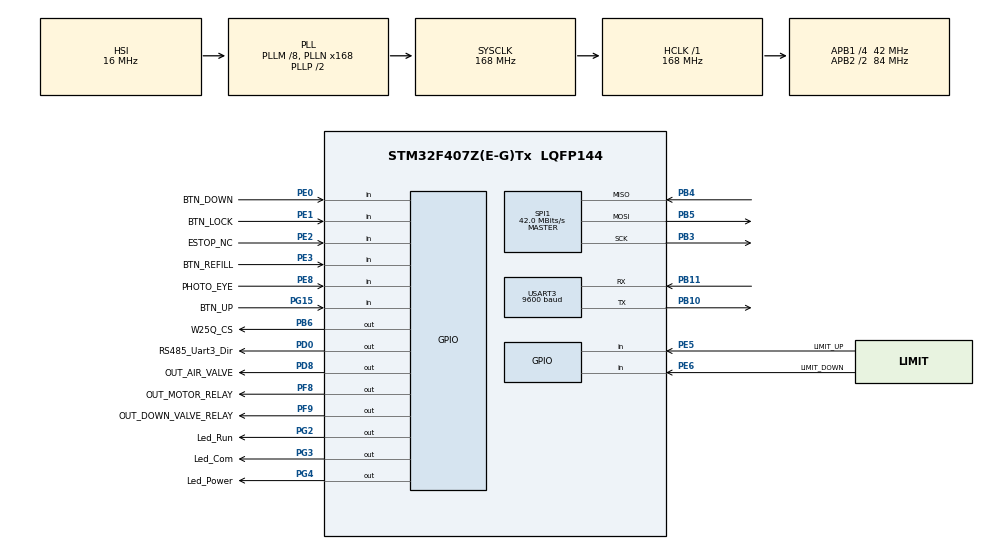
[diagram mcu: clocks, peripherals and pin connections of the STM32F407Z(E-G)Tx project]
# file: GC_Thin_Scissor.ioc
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Dma.Request0=USART3_TX
Dma.Request1=USART3_RX
Dma.USART3_RX.1.Direction=DMA_PERIPH_TO_MEMORY
Dma.USART3_RX.1.FIFOMode=DMA_FIFOMODE_DISABLE
Dma.USART3_RX.1.Instance=DMA1_Stream1
Dma.USART3_RX.1.MemDataAlignment=DMA_MDATAALIGN_BYTE
Dma.USART3_RX.1.MemInc=DMA_MINC_ENABLE
Dma.USART3_RX.1.Mode=DMA_CIRCULAR
Dma.USART3_RX.1.PeriphDataAlignment=DMA_PDATAALIGN_BYTE
Dma.USART3_RX.1.PeriphInc=DMA_PINC_DISABLE
Dma.USART3_RX.1.Priority=DMA_PRIORITY_LOW
Dma.USART3_TX.0.Direction=DMA_MEMORY_TO_PERIPH
Dma.USART3_TX.0.FIFOMode=DMA_FIFOMODE_DISABLE
Dma.USART3_TX.0.Instance=DMA1_Stream3
Dma.USART3_TX.0.MemDataAlignment=DMA_MDATAALIGN_BYTE
Dma.USART3_TX.0.MemInc=DMA_MINC_ENABLE
Dma.USART3_TX.0.Mode=DMA_NORMAL
Dma.USART3_TX.0.PeriphDataAlignment=DMA_PDATAALIGN_BYTE
Dma.USART3_TX.0.PeriphInc=DMA_PINC_DISABLE
Dma.USART3_TX.0.Priority=DMA_PRIORITY_LOW
FREERTOS.Tasks01=defaultTask,24,128,StartDefaultTask,Default,NULL,Dynamic,NULL,NULL
FREERTOS.configTOTAL_HEAP_SIZE=32768
Mcu.Family=STM32F4
Mcu.Name=STM32F407Z(E-G)Tx
Mcu.Package=LQFP144
NVIC.DMA1_Stream1_IRQn=true\:5\:0\:false\:false\:true\:true\:false\:true\:true
NVIC.DMA1_Stream3_IRQn=true\:5\:0\:false\:false\:true\:true\:false\:true\:true
NVIC.PriorityGroup=NVIC_PRIORITYGROUP_4
NVIC.TIM6_DAC_IRQn=true\:15\:0\:false\:false\:true\:false\:false\:true\:true
NVIC.TimeBase=TIM6_DAC_IRQn
NVIC.TimeBaseIP=TIM6
NVIC.USART3_IRQn=true\:5\:0\:false\:false\:true\:true\:true\:true\:true
PA0-WKUP.Mode=SYS_WakeUp0
PA0-WKUP.Signal=SYS_WKUP
PA13.Mode=Serial_Wire
PA13.Signal=SYS_JTMS-SWDIO
PA14.Mode=Serial_Wire
PA14.Signal=SYS_JTCK-SWCLK
PB10.GPIO_PuPd=GPIO_NOPULL
PB10.Mode=Asynchronous
PB10.Signal=USART3_TX
PB11.GPIO_PuPd=GPIO_PULLUP
PB11.Mode=Asynchronous
PB11.Signal=USART3_RX
PB3.Mode=Full_Duplex_Master
PB3.Signal=SPI1_SCK
PB4.Mode=Full_Duplex_Master
PB4.Signal=SPI1_MISO
PB5.Mode=Full_Duplex_Master
PB5.Signal=SPI1_MOSI
PB6.GPIO_Label=W25Q_CS
PB6.GPIO_PuPd=GPIO_PULLUP
PB6.PinState=GPIO_PIN_SET
PB6.Signal=GPIO_Output
PC14-OSC32_IN.Mode=LSE-External-Oscillator
PC14-OSC32_IN.Signal=RCC_OSC32_IN
PC15-OSC32_OUT.Mode=LSE-External-Oscillator
PC15-OSC32_OUT.Signal=RCC_OSC32_OUT
PD0.GPIO_Label=RS485_Uart3_Dir
PD0.GPIO_ModeDefaultOutputPP=GPIO_MODE_OUTPUT_PP
PD0.GPIO_PuPd=GPIO_PULLDOWN
PD0.GPIO_Speed=GPIO_SPEED_FREQ_LOW
PD0.PinState=GPIO_PIN_RESET
PD0.Signal=GPIO_Output
PD8.GPIO_Label=OUT_AIR_VALVE
PD8.GPIO_ModeDefaultOutputPP=GPIO_MODE_OUTPUT_PP
PD8.GPIO_PuPd=GPIO_PULLDOWN
PD8.GPIO_Speed=GPIO_SPEED_FREQ_LOW
PD8.PinState=GPIO_PIN_RESET
PD8.Signal=GPIO_Output
PE0.GPIO_Label=BTN_DOWN
PE0.GPIO_PuPd=GPIO_PULLUP
PE0.Signal=GPIO_Input
PE1.GPIO_Label=BTN_LOCK
PE1.GPIO_PuPd=GPIO_PULLUP
PE1.Signal=GPIO_Input
PE2.GPIO_Label=ESTOP_NC
PE2.GPIO_PuPd=GPIO_PULLUP
PE2.Signal=GPIO_Input
PE3.GPIO_Label=BTN_REFILL
PE3.GPIO_PuPd=GPIO_PULLUP
PE3.Signal=GPIO_Input
PE5.GPIO_Label=LIMIT_UP
PE5.GPIO_PuPd=GPIO_PULLUP
PE5.Signal=GPIO_Input
PE6.GPIO_Label=LIMIT_DOWN
PE6.GPIO_PuPd=GPIO_PULLUP
PE6.Signal=GPIO_Input
PE8.GPIO_Label=PHOTO_EYE
PE8.GPIO_PuPd=GPIO_PULLUP
PE8.Signal=GPIO_Input
PF8.GPIO_Label=OUT_MOTOR_RELAY
PF8.GPIO_ModeDefaultOutputPP=GPIO_MODE_OUTPUT_PP
PF8.GPIO_PuPd=GPIO_PULLDOWN
PF8.GPIO_Speed=GPIO_SPEED_FREQ_LOW
PF8.PinState=GPIO_PIN_RESET
PF8.Signal=GPIO_Output
PF9.GPIO_Label=OUT_DOWN_VALVE_RELAY
PF9.GPIO_ModeDefaultOutputPP=GPIO_MODE_OUTPUT_PP
PF9.GPIO_PuPd=GPIO_PULLDOWN
PF9.GPIO_Speed=GPIO_SPEED_FREQ_LOW
PF9.PinState=GPIO_PIN_RESET
PF9.Signal=GPIO_Output
PG15.GPIO_Label=BTN_UP
PG15.GPIO_PuPd=GPIO_PULLUP
PG15.Signal=GPIO_Input
PG2.GPIO_Label=Led_Run
PG2.GPIO_PuPd=GPIO_PULLUP
PG2.PinState=GPIO_PIN_SET
PG2.Signal=GPIO_Output
PG3.GPIO_Label=Led_Com
PG3.GPIO_PuPd=GPIO_PULLUP
PG3.PinState=GPIO_PIN_SET
PG3.Signal=GPIO_Output
PG4.GPIO_Label=Led_Power
PG4.GPIO_PuPd=GPIO_PULLUP
PG4.PinState=GPIO_PIN_SET
PG4.Signal=GPIO_Output
PH0-OSC_IN.Mode=HSE-External-Oscillator
PH0-OSC_IN.Signal=RCC_OSC_IN
PH1-OSC_OUT.Mode=HSE-External-Oscillator
PH1-OSC_OUT.Signal=RCC_OSC_OUT
ProjectManager.HeapSize=0x200
ProjectManager.StackSize=0x400
ProjectManager.TargetToolchain=MDK-ARM V5.32
RCC.48MHZClocksFreq_Value=84000000
RCC.AHBFreq_Value=168000000
RCC.APB1CLKDivider=RCC_HCLK_DIV4
RCC.APB1Freq_Value=42000000
RCC.APB1TimFreq_Value=84000000
RCC.APB2CLKDivider=RCC_HCLK_DIV2
RCC.APB2Freq_Value=84000000
RCC.APB2TimFreq_Value=168000000
RCC.CortexFreq_Value=168000000
RCC.HCLKFreq_Value=168000000
RCC.HSE_VALUE=25000000
RCC.HSI_VALUE=16000000
RCC.PLLM=8
RCC.PLLN=168
RCC.SYSCLKFreq_VALUE=168000000
RCC.SYSCLKSource=RCC_SYSCLKSOURCE_PLLCLK
RCC.VCOOutputFreq_Value=336000000
SPI1.CalculateBaudRate=42.0 MBits/s
SPI1.Direction=SPI_DIRECTION_2LINES
SPI1.Mode=SPI_MODE_MASTER
SPI1.VirtualType=VM_MASTER
USART3.BaudRate=9600
USART3.VirtualMode=VM_ASYNC
VP_FREERTOS_VS_CMSIS_V2.Mode=CMSIS_V2
VP_SYS_VS_tim6.Mode=TIM6
board=custom

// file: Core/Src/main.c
/* USER CODE BEGIN Header */
/**
  ******************************************************************************
  * @file           : main.c
  * @brief          : Main program body
  ******************************************************************************
  * @attention
  *
  * Copyright (c) 2026 STMicroelectronics.
  * All rights reserved.
  *
  * This software is licensed under terms that can be found in the LICENSE file
  * in the root directory of this software component.
  * If no LICENSE file comes with this software, it is provided AS-IS.
  *
  ******************************************************************************
  */
/* USER CODE END Header */
#include "main.h"
#include "cmsis_os.h"
#include "dma.h"
#include "spi.h"
#include "usart.h"
#include "gpio.h"

/* USER CODE BEGIN Includes */
#include "SEGGER_RTT.h"
#include "elog.h"
#include "app_w25qxx.h"
#include "app_product.h"
#include "app_io_map.h"
#include "lift_core.h"
#include "lift_iot.h"
#include "lift_lock.h"

/* USER CODE END Includes */

void SystemClock_Config(void);
void MX_FREERTOS_Init(void);

int main(void)
{

  /* MCU Configuration--------------------------------------------------------*/

  /* Reset of all peripherals, Initializes the Flash interface and the Systick. */
  HAL_Init();

  /* Configure the system clock */
  SystemClock_Config();

  /* Initialize all configured peripherals */
  MX_GPIO_Init();
  MX_DMA_Init();
  MX_SPI1_Init();
  MX_USART3_UART_Init();
  /* USER CODE BEGIN 2 */
  SEGGER_RTT_Init();
  elog_init();
  elog_set_fmt(ELOG_LVL_ASSERT, ELOG_FMT_LVL | ELOG_FMT_TAG | ELOG_FMT_TIME);
  elog_set_fmt(ELOG_LVL_ERROR,  ELOG_FMT_LVL | ELOG_FMT_TAG | ELOG_FMT_TIME);
  elog_set_fmt(ELOG_LVL_WARN,   ELOG_FMT_LVL | ELOG_FMT_TAG | ELOG_FMT_TIME);
  elog_set_fmt(ELOG_LVL_INFO,   ELOG_FMT_LVL | ELOG_FMT_TAG | ELOG_FMT_TIME);
  elog_set_fmt(ELOG_LVL_DEBUG,  ELOG_FMT_ALL & ~ELOG_FMT_FUNC);
  elog_start();

  App_Product_PrintUID();
  App_W25Qxx_System_Init();
  LiftLock_Init();
  LiftIot_Init();
  App_IO_Map_Init(g_product_type);
  LiftCore_Init();
  elog_i("SYS", "[SYS] Thin scissor ready product_type=%d (%s)",
         g_product_type,
         App_Product_TypeName(g_product_type));
  LED_POWER_ON();

  /* USER CODE END 2 */

  /* Init scheduler */
  osKernelInitialize();  /* Call init function for freertos objects (in cmsis_os2.c) */
  MX_FREERTOS_Init();

  /* Start scheduler */
  osKernelStart();

  /* We should never get here as control is now taken by the scheduler */

  /* Infinite loop */
  while (1)
  {

  }
}

void SystemClock_Config(void)
{
  RCC_OscInitTypeDef RCC_OscInitStruct = {0};
  RCC_ClkInitTypeDef RCC_ClkInitStruct = {0};

  /** Configure the main internal regulator output voltage
  */
  __HAL_RCC_PWR_CLK_ENABLE();
  __HAL_PWR_VOLTAGESCALING_CONFIG(PWR_REGULATOR_VOLTAGE_SCALE1);

  /** Initializes the RCC Oscillators according to the specified parameters
  * in the RCC_OscInitTypeDef structure.
  */
  RCC_OscInitStruct.OscillatorType = RCC_OSCILLATORTYPE_HSI;
  RCC_OscInitStruct.HSIState = RCC_HSI_ON;
  RCC_OscInitStruct.HSICalibrationValue = RCC_HSICALIBRATION_DEFAULT;
  RCC_OscInitStruct.PLL.PLLState = RCC_PLL_ON;
  RCC_OscInitStruct.PLL.PLLSource = RCC_PLLSOURCE_HSI;
  RCC_OscInitStruct.PLL.PLLM = 8;
  RCC_OscInitStruct.PLL.PLLN = 168;
  RCC_OscInitStruct.PLL.PLLP = RCC_PLLP_DIV2;
  RCC_OscInitStruct.PLL.PLLQ = 4;
  if (HAL_RCC_OscConfig(&RCC_OscInitStruct) != HAL_OK)
  {
    Error_Handler();
  }

  /** Initializes the CPU, AHB and APB buses clocks
  */
  RCC_ClkInitStruct.ClockType = RCC_CLOCKTYPE_HCLK|RCC_CLOCKTYPE_SYSCLK
                              |RCC_CLOCKTYPE_PCLK1|RCC_CLOCKTYPE_PCLK2;
  RCC_ClkInitStruct.SYSCLKSource = RCC_SYSCLKSOURCE_PLLCLK;
  RCC_ClkInitStruct.AHBCLKDivider = RCC_SYSCLK_DIV1;
  RCC_ClkInitStruct.APB1CLKDivider = RCC_HCLK_DIV4;
  RCC_ClkInitStruct.APB2CLKDivider = RCC_HCLK_DIV2;

  if (HAL_RCC_ClockConfig(&RCC_ClkInitStruct, FLASH_LATENCY_5) != HAL_OK)
  {
    Error_Handler();
  }
}

void HAL_TIM_PeriodElapsedCallback(TIM_HandleTypeDef *htim)
{
  if (htim->Instance == TIM6)
  {
    HAL_IncTick();
  }
}

void Error_Handler(void)
{
  __disable_irq();
  while (1)
  {
  }
}
